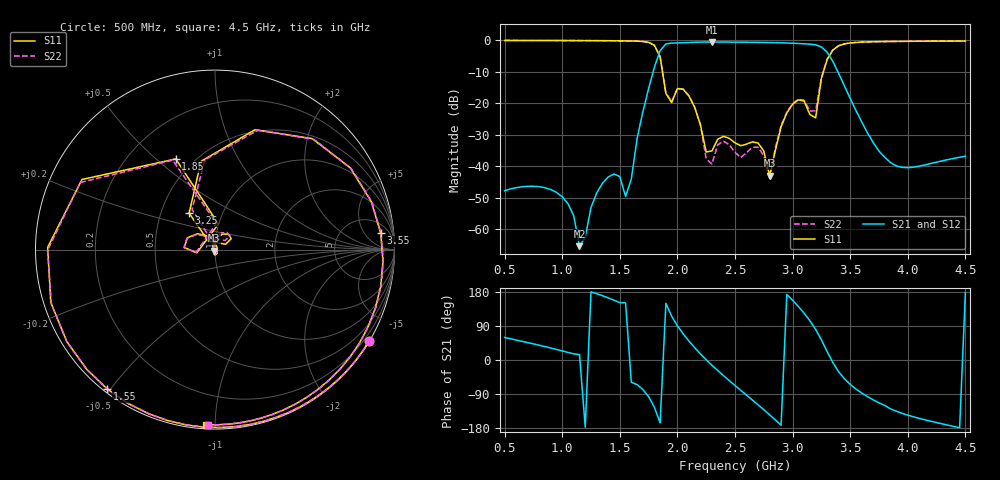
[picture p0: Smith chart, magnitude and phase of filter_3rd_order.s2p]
! 2-port S-parameter data
! S-port 1 net1
! S-port 2 net2
# GHz S DB R 50
!freq dBS11 angS11 dBS21 angS21 dBS12 angS12 dBS22 angS22
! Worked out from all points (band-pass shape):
!   81 points, 500 MHz to 4.5 GHz, reference 50 ohm
!   highest |S21| = -0.52 dB at 2.3 GHz (marker M1); lowest = -65.3 dB at 1.15 GHz (marker M2)
!   |S21| within 3 dB of the highest: 1.847 GHz to 3.293 GHz (1.446 GHz wide, 56.2 % of centre)
!   lowest |S11| = -42.9 dB at 2.8 GHz (marker M3), VSWR 1.01, Z = 49.5 - j0.522 ohm
!   |S11| at or under -10 dB: 1.871 GHz to 3.267 GHz (1.396 GHz wide, 54.4 % of centre)
!   |S22| runs from -44.3 to 0.0 dB; largest |S21 - S12| = 2e-15
!   S11 on the Smith chart (normalised r, x): 500 MHz: 0.01, -3.65; 1.55 GHz: 0.01, -0.49; 1.85 GHz: 0.40, +0.58; 3.25 GHz: 0.69, +0.30; 3.55 GHz: 10, +13; 4.5 GHz: 0.02, -0.95
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0.5  -0.01 -30.6  -47.71 59.4  -47.71 59.4  -0.01 -30.5
0.95  -0.04 -61.9  -48.24 27.9  -48.24 27.9  -0.04 -61.7
1.15  -0.06 -78.8  -65.31 14.4  -65.31 14.4  -0.06 -78.5
1.2  -0.06 -83.5  -62.43 -177.1  -62.43 -177.1  -0.06 -83.2
1.4  -0.10 -105.4  -43.33 163.8  -43.33 163.8  -0.10 -105.0
1.55  -0.16 -127.7  -49.52 150.7  -49.52 150.7  -0.16 -127.1
1.75  -0.61 179.2  -15.31 -96.6  -15.31 -96.6  -0.60 -179.8
1.85  -5.18 113.4  -3.25 -165.9  -3.25 -165.9  -5.17 115.3
1.9  -16.82 82.3  -1.13 149.5  -1.13 149.5  -16.67 86.7
2  -15.29 176.0  -0.81 90.3  -0.81 90.3  -15.21 176.2
2.15  -21.25 118.3  -0.58 32.5  -0.58 32.5  -21.18 122.9
2.3  -35.07 -46.4  -0.52 -13.8  -0.52 -13.8  -39.22 -69.6
2.5  -32.51 -91.1  -0.55 -67.2  -0.55 -67.2  -35.53 -103.1
2.7  -32.55 -67.7  -0.61 -118.2  -0.61 -118.2  -33.89 -60.0
2.8  -42.89 -132.6  -0.67 -144.5  -0.67 -144.5  -44.30 -144.1
3  -20.24 63.5  -0.90 157.6  -0.90 157.6  -20.07 69.2
3.2  -24.60 128.3  -1.40 80.6  -1.40 80.6  -22.36 113.9
3.25  -12.07 125.3  -2.07 53.1  -2.07 53.1  -11.80 119.8
3.35  -3.05 71.6  -6.71 -7.1  -6.71 -7.1  -3.00 70.2
3.55  -0.65 5.6  -22.25 -76.7  -22.25 -76.7  -0.64 5.7
3.85  -0.34 -38.7  -38.78 -128.8  -38.78 -128.8  -0.34 -38.2
4.5  -0.21 -92.9  -36.75 178.0  -36.75 178.0  -0.20 -92.3
